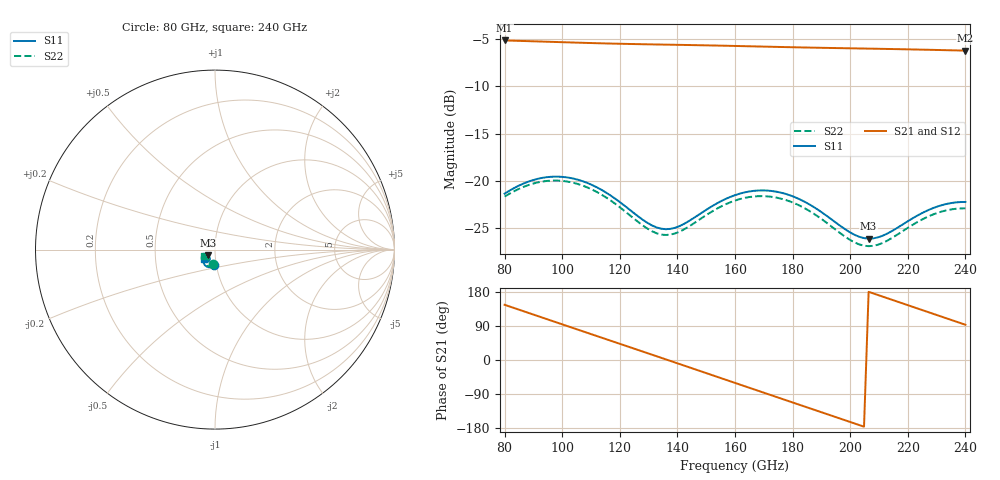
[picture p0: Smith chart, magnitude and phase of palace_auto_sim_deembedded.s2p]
! Created with skrf 1.11.0 (http://scikit-rf.org).
# GHz S DB R 50.0
!freq dBS11 angS11 dBS21 angS21 dBS12 angS12 dBS22 angS22
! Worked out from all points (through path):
!   101 points, 80 GHz to 240 GHz, reference 50 ohm
!   highest |S21| = -5.12 dB at 80 GHz (marker M1); lowest = -6.2 dB at 240 GHz (marker M2)
!   group delay of S21, straight-line fit = 7.16 ps
!   lowest |S11| = -26.1 dB at 206.4 GHz (marker M3), VSWR 1.10, Z = 46.3 - j2.93 ohm
!   |S11| at or under -10 dB: start of sweep to end of sweep
!   |S22| runs from -26.9 to -20.0 dB; largest |S21 - S12| = 6.4e-14
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80  -21.37 -95.3  -5.12 145.7  -5.12 145.7  -21.68 -97.3
88  -20.13 -102.0  -5.20 125.1  -5.20 125.1  -20.49 -104.1
94.4  -19.63 -110.3  -5.25 108.6  -5.25 108.6  -20.03 -112.7
100.8  -19.62 -119.5  -5.31 92.1  -5.31 92.1  -20.05 -122.1
107.2  -20.06 -128.4  -5.37 75.6  -5.37 75.6  -20.53 -131.3
113.6  -20.96 -136.0  -5.43 59.2  -5.43 59.2  -21.47 -139.0
121.6  -22.64 -141.1  -5.48 38.6  -5.48 38.6  -23.20 -144.4
128  -24.15 -139.3  -5.52 22.2  -5.52 22.2  -24.75 -142.6
134.4  -25.09 -131.3  -5.56 5.7  -5.56 5.7  -25.71 -134.5
139.2  -24.99 -123.9  -5.58 -6.7  -5.58 -6.7  -25.59 -127.1
147.2  -23.65 -117.3  -5.63 -27.3  -5.63 -27.3  -24.22 -120.9
160  -21.53 -123.7  -5.71 -60.4  -5.71 -60.4  -22.11 -128.3
166.4  -21.08 -130.8  -5.75 -77.0  -5.75 -77.0  -21.68 -135.7
172.8  -21.09 -138.5  -5.80 -93.5  -5.80 -93.5  -21.71 -143.8
179.2  -21.56 -145.7  -5.84 -110.0  -5.84 -110.0  -22.21 -151.4
187.2  -22.76 -152.4  -5.89 -130.6  -5.89 -130.6  -23.47 -158.4
196.8  -24.84 -152.5  -5.94 -155.3  -5.94 -155.3  -25.62 -158.7
206.4  -26.14 -140.1  -5.99 179.9  -5.99 179.9  -26.94 -146.1
214.4  -25.36 -129.2  -6.03 159.2  -6.03 159.2  -26.09 -135.3
227.2  -23.11 -128.9  -6.11 126.1  -6.11 126.1  -23.78 -135.8
233.6  -22.46 -133.8  -6.16 109.5  -6.16 109.5  -23.13 -141.2
240  -22.25 -139.9  -6.20 93.0  -6.20 93.0  -22.93 -147.7
